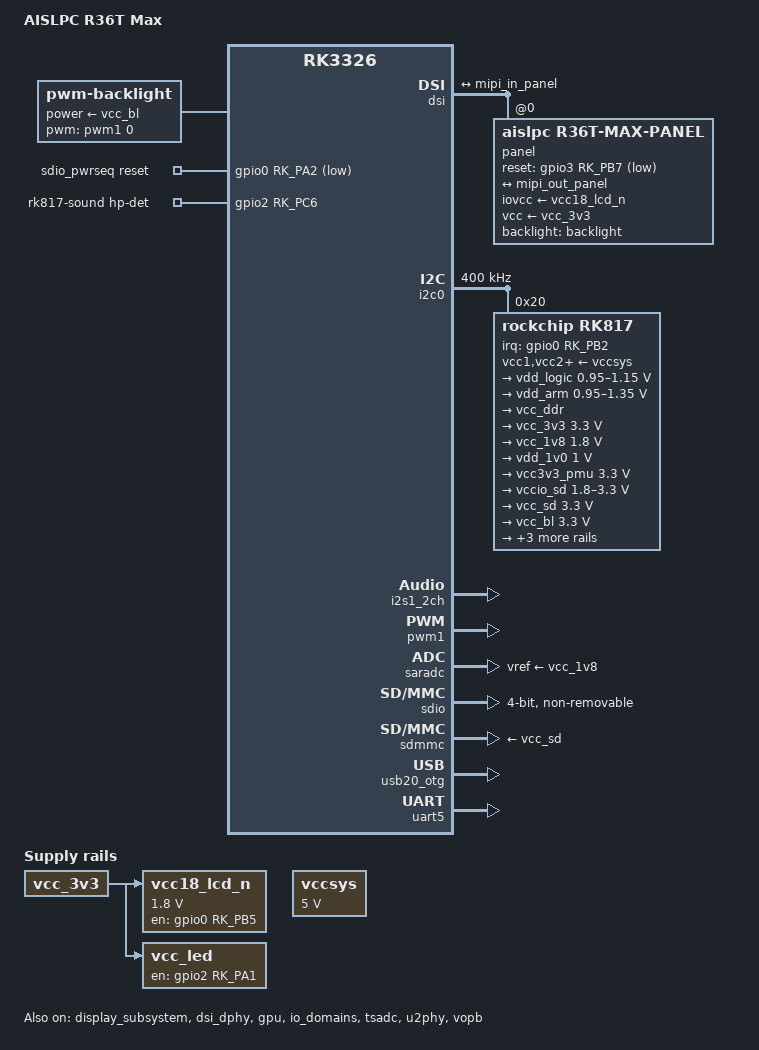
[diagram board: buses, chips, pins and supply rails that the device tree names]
// SPDX-License-Identifier: (GPL-2.0+ OR MIT)
/*
 * Device tree for the AISLPC R36T Max handheld.
 *
 * Copyright (c) 2026 Simon W. Jackson
 *
 * Written against mainline conventions so it can be submitted upstream, and
 * usable as-is if it never is. Values come from the running device: the
 * display controller for panel timings, resolved phandles from the vendor
 * device tree for GPIO assignments, and measured SDIO behaviour for the
 * Wi-Fi bus. Nothing is copied from the vendor tree's structure, which is a
 * generic Rockchip EVB with board nodes grafted onto it.
 *
 * Closest upstream relative is rk3326-anbernic-rg351m.dtsi: same SoC, same
 * RK817 PMIC, same audio routing, same SD card wiring. Where this board
 * agrees with it, it deliberately says the same thing.
 *
 * Unresolved, and deliberately absent rather than guessed:
 *
 *  - Buttons. The vendor driver takes 19 GPIOs as one ordered list with no
 *    labels and assigns key codes by position inside a non-mainline driver.
 *    The pins are known (gpio3 PB3..PD3, gpio2 PB5, PB6, gpio3 PB2) but
 *    which pin is which button is not derivable from the device tree and
 *    needs testing on hardware. gpio-keys is therefore not written yet.
 *  - Analog sticks. Four SARADC channels are known; the axis mapping and
 *    calibration ranges need the same hardware pass, then an adc-joystick
 *    node in the mainline binding rather than the vendor's play_joystick.
 */

/dts-v1/;
#include <dt-bindings/gpio/gpio.h>
#include <dt-bindings/input/input.h>
#include <dt-bindings/pinctrl/rockchip.h>
#include "rk3326.dtsi"

/ {
	model = "AISLPC R36T Max";
	compatible = "aislpc,r36t-max", "rockchip,rk3326";

	aliases {
		mmc0 = &sdmmc;
	};

	chosen {
		/*
		 * UART5, not the UART2 that most RK3326 boards use. The stock
		 * kernel is started with earlycon at 0xff178000, which is
		 * UART5 on this SoC. Boards in this clone family share the
		 * wiring; ROCKNIX retunes its DDR blob for the same reason.
		 */
		stdout-path = "serial5:1500000n8";
	};

	backlight: backlight {
		compatible = "pwm-backlight";
		pwms = <&pwm1 0 25000 0>;
		power-supply = <&vcc_bl>;
	};

	/*
	 * Supplies the panel's 1.8 V rail. Held on by the bootloader; the
	 * regulator core switches unclaimed rails off a few seconds after
	 * boot, which on a panel rail means the display goes dark once
	 * userspace is up.
	 */
	vcc18_lcd_n: regulator-vcc18-lcd-n {
		compatible = "regulator-fixed";
		enable-active-high;
		gpio = <&gpio0 RK_PB5 GPIO_ACTIVE_HIGH>;
		regulator-name = "vcc18_lcd_n";
		regulator-boot-on;
		regulator-min-microvolt = <1800000>;
		regulator-max-microvolt = <1800000>;
		vin-supply = <&vcc_3v3>;

		regulator-state-mem {
			regulator-off-in-suspend;
		};
	};

	/* Ring lights around both analog sticks. */
	vcc_led: regulator-vcc-led {
		compatible = "regulator-fixed";
		enable-active-high;
		gpio = <&gpio2 RK_PA1 GPIO_ACTIVE_HIGH>;
		pinctrl-names = "default";
		pinctrl-0 = <&led_vcc_en>;
		regulator-name = "vcc_led";
		vin-supply = <&vcc_3v3>;
	};

	vccsys: regulator-vccsys {
		compatible = "regulator-fixed";
		regulator-name = "vcc5v0_sys";
		regulator-always-on;
		regulator-boot-on;
		regulator-min-microvolt = <5000000>;
		regulator-max-microvolt = <5000000>;
	};

	sdio_pwrseq: sdio-pwrseq {
		compatible = "mmc-pwrseq-simple";
		clocks = <&cru SCLK_WIFI_PMU>;
		clock-names = "ext_clock";
		pinctrl-names = "default";
		pinctrl-0 = <&wifi_enable_h>;
		post-power-on-delay-ms = <100>;
		/*
		 * The vendor tree declares this active-high. On a mainline
		 * kernel that inverts what mmc-pwrseq-simple asserts, and the
		 * June bring-up measured the result directly: active-high
		 * stopped SDIO enumerating at all, reporting
		 * "mmc2: Failed to initialize a non-removable card".
		 * Active-low enumerates, downloads firmware, and associates.
		 */
		reset-gpios = <&gpio0 RK_PA2 GPIO_ACTIVE_LOW>;
	};

	rk817-sound {
		compatible = "simple-audio-card";
		simple-audio-card,name = "rk817_int";
		simple-audio-card,format = "i2s";
		simple-audio-card,hp-det-gpios = <&gpio2 RK_PC6 GPIO_ACTIVE_HIGH>;
		simple-audio-card,mclk-fs = <256>;
		simple-audio-card,widgets =
			"Microphone", "Mic Jack",
			"Headphone", "Headphones",
			"Speaker", "Speaker";
		simple-audio-card,routing =
			"MICL", "Mic Jack",
			"Headphones", "HPOL",
			"Headphones", "HPOR",
			"Speaker", "SPKO";

		simple-audio-card,codec {
			sound-dai = <&rk817>;
		};

		simple-audio-card,cpu {
			sound-dai = <&i2s1_2ch>;
		};
	};
};

&cpu0 {
	cpu-supply = <&vdd_arm>;
};

&cpu1 {
	cpu-supply = <&vdd_arm>;
};

&cpu2 {
	cpu-supply = <&vdd_arm>;
};

&cpu3 {
	cpu-supply = <&vdd_arm>;
};

&display_subsystem {
	status = "okay";
};

&dsi {
	#address-cells = <1>;
	#size-cells = <0>;
	status = "okay";

	ports {
		mipi_out: port@1 {
			reg = <1>;

			mipi_out_panel: endpoint {
				remote-endpoint = <&mipi_in_panel>;
			};
		};
	};

	/*
	 * 720x720 at 61 Hz on a 50 MHz pixel clock, four DSI lanes. Read
	 * from the display controller while the stock system was running:
	 *
	 *   Display mode: 720x720p61  clk[50000]
	 *   H: 720 860 940 1080       V: 720 740 744 764
	 *
	 * Note that /sys/class/graphics/fb0 reports 680x680 on the stock
	 * system. That is the plane, inset 20 px inside the display, not the
	 * panel.
	 *
	 * The mode itself lives in the panel driver, not here: mainline's
	 * ST7703 driver carries per-compatible timings and init sequences in
	 * C. This board needs its own compatible there, because its glass
	 * wants SETVCOM 0x97 0x97 and SETPOWER_EXT 0x26 0x22 where the
	 * RG353M's wants 0x7f 0x7f and 0x26 0x62 -- the two registers that
	 * decide whether an ST7703 reports ready and still draws nothing.
	 */
	panel: panel@0 {
		compatible = "aislpc,r36t-max-panel", "sitronix,st7703";
		reg = <0>;
		backlight = <&backlight>;
		reset-gpios = <&gpio3 RK_PB7 GPIO_ACTIVE_LOW>;
		iovcc-supply = <&vcc18_lcd_n>;
		vcc-supply = <&vcc_3v3>;

		port {
			mipi_in_panel: endpoint {
				remote-endpoint = <&mipi_out_panel>;
			};
		};
	};
};

&dsi_dphy {
	status = "okay";
};

&gpu {
	mali-supply = <&vdd_logic>;
	status = "okay";
};

&i2c0 {
	clock-frequency = <400000>;
	i2c-scl-falling-time-ns = <16>;
	i2c-scl-rising-time-ns = <280>;
	status = "okay";

	rk817: pmic@20 {
		compatible = "rockchip,rk817";
		reg = <0x20>;
		#clock-cells = <1>;
		clock-names = "mclk";
		clock-output-names = "rk808-clkout1", "xin32k";
		clocks = <&cru SCLK_I2S1_OUT>;
		interrupt-parent = <&gpio0>;
		interrupts = <RK_PB2 IRQ_TYPE_LEVEL_LOW>;
		pinctrl-0 = <&pmic_int>, <&i2s1_2ch_mclk>;
		pinctrl-names = "default";
		#sound-dai-cells = <0>;
		wakeup-source;

		vcc1-supply = <&vccsys>;
		vcc2-supply = <&vccsys>;
		vcc3-supply = <&vccsys>;
		vcc4-supply = <&vccsys>;
		vcc5-supply = <&vccsys>;
		vcc6-supply = <&vccsys>;
		vcc7-supply = <&vccsys>;
		vcc8-supply = <&vccsys>;

		regulators {
			vdd_logic: DCDC_REG1 {
				regulator-always-on;
				regulator-boot-on;
				regulator-min-microvolt = <950000>;
				regulator-max-microvolt = <1150000>;
				regulator-name = "vdd_logic";
				regulator-ramp-delay = <6001>;

				regulator-state-mem {
					regulator-on-in-suspend;
					regulator-suspend-microvolt = <950000>;
				};
			};

			vdd_arm: DCDC_REG2 {
				regulator-always-on;
				regulator-boot-on;
				regulator-min-microvolt = <950000>;
				regulator-max-microvolt = <1350000>;
				regulator-name = "vdd_arm";
				regulator-ramp-delay = <6001>;

				regulator-state-mem {
					regulator-off-in-suspend;
					regulator-suspend-microvolt = <950000>;
				};
			};

			vcc_ddr: DCDC_REG3 {
				regulator-always-on;
				regulator-boot-on;
				regulator-name = "vcc_ddr";

				regulator-state-mem {
					regulator-on-in-suspend;
				};
			};

			vcc_3v3: DCDC_REG4 {
				regulator-always-on;
				regulator-boot-on;
				regulator-min-microvolt = <3300000>;
				regulator-max-microvolt = <3300000>;
				regulator-name = "vcc_3v3";

				regulator-state-mem {
					regulator-off-in-suspend;
					regulator-suspend-microvolt = <3300000>;
				};
			};

			vcc_1v8: LDO_REG2 {
				regulator-always-on;
				regulator-boot-on;
				regulator-min-microvolt = <1800000>;
				regulator-max-microvolt = <1800000>;
				regulator-name = "vcc_1v8";

				regulator-state-mem {
					regulator-on-in-suspend;
					regulator-suspend-microvolt = <1800000>;
				};
			};

			vdd_1v0: LDO_REG3 {
				regulator-always-on;
				regulator-boot-on;
				regulator-min-microvolt = <1000000>;
				regulator-max-microvolt = <1000000>;
				regulator-name = "vdd_1v0";

				regulator-state-mem {
					regulator-on-in-suspend;
					regulator-suspend-microvolt = <1000000>;
				};
			};

			vcc3v3_pmu: LDO_REG4 {
				regulator-always-on;
				regulator-boot-on;
				regulator-min-microvolt = <3300000>;
				regulator-max-microvolt = <3300000>;
				regulator-name = "vcc3v3_pmu";

				regulator-state-mem {
					regulator-on-in-suspend;
					regulator-suspend-microvolt = <3300000>;
				};
			};

			vccio_sd: LDO_REG5 {
				regulator-always-on;
				regulator-boot-on;
				regulator-min-microvolt = <1800000>;
				regulator-max-microvolt = <3300000>;
				regulator-name = "vccio_sd";

				regulator-state-mem {
					regulator-on-in-suspend;
					regulator-suspend-microvolt = <3300000>;
				};
			};

			vcc_sd: LDO_REG6 {
				regulator-boot-on;
				regulator-min-microvolt = <3300000>;
				regulator-max-microvolt = <3300000>;
				regulator-name = "vcc_sd";

				regulator-state-mem {
					regulator-on-in-suspend;
					regulator-suspend-microvolt = <3300000>;
				};
			};

			vcc_bl: LDO_REG7 {
				regulator-min-microvolt = <3300000>;
				regulator-max-microvolt = <3300000>;
				regulator-name = "vcc_bl";

				regulator-state-mem {
					regulator-off-in-suspend;
					regulator-suspend-microvolt = <3300000>;
				};
			};

			vcc_lcd: LDO_REG8 {
				regulator-min-microvolt = <2800000>;
				regulator-max-microvolt = <2800000>;
				regulator-name = "vcc_lcd";

				regulator-state-mem {
					regulator-off-in-suspend;
					regulator-suspend-microvolt = <2800000>;
				};
			};

			vcc_wifi: LDO_REG9 {
				regulator-min-microvolt = <3300000>;
				regulator-max-microvolt = <3300000>;
				regulator-name = "vcc_wifi";

				regulator-state-mem {
					regulator-off-in-suspend;
					regulator-suspend-microvolt = <3300000>;
				};
			};

			usb_midu: BOOST {
				regulator-always-on;
				regulator-boot-on;
				regulator-min-microvolt = <5000000>;
				regulator-max-microvolt = <5400000>;
				regulator-name = "usb_midu";
			};
		};

		rk817_codec: codec {
			rockchip,mic-in-differential;
		};
	};
};

&i2s1_2ch {
	status = "okay";
};

&io_domains {
	vccio1-supply = <&vcc_3v3>;
	vccio2-supply = <&vccio_sd>;
	vccio3-supply = <&vcc_3v3>;
	vccio4-supply = <&vcc_3v3>;
	vccio5-supply = <&vcc_3v3>;
	vccio6-supply = <&vcc_3v3>;
	status = "okay";
};

&pmu_io_domains {
	pmuio1-supply = <&vcc3v3_pmu>;
	pmuio2-supply = <&vcc3v3_pmu>;
	status = "okay";
};

&pwm1 {
	status = "okay";
};

&saradc {
	vref-supply = <&vcc_1v8>;
	status = "okay";
};

/* SDIO, Wi-Fi only. */
&sdio {
	bus-width = <4>;
	cap-sd-highspeed;
	cap-sdio-irq;
	keep-power-in-suspend;
	/*
	 * 25 MHz, not the 50 the bus is capable of. Measured: at 50 MHz the
	 * card enumerates but RK915 firmware reset times out with -110.
	 * 25 MHz holds the bus stable long enough for firmware download,
	 * reset, scan, and association.
	 */
	max-frequency = <25000000>;
	mmc-pwrseq = <&sdio_pwrseq>;
	non-removable;
	no-mmc;
	no-sd;
	vqmmc-supply = <&vcc_1v8>;
	status = "okay";

	/*
	 * RK915 over SDIO. There is no mainline driver for this part, so the
	 * node exists to power and clock the bus correctly; the driver is
	 * carried out of tree along with rk915_fw.bin and rk915_patch.bin.
	 * Host wake is gpio0 RK_PA5.
	 */
};

&sdmmc {
	cap-sd-highspeed;
	card-detect-delay = <200>;
	sd-uhs-sdr12;
	sd-uhs-sdr25;
	sd-uhs-sdr50;
	sd-uhs-sdr104;
	vmmc-supply = <&vcc_sd>;
	vqmmc-supply = <&vccio_sd>;
	status = "okay";
};

&tsadc {
	status = "okay";
};

&u2phy {
	status = "okay";

	u2phy_host: host-port {
		status = "okay";
	};

	u2phy_otg: otg-port {
		status = "okay";
	};
};

&usb20_otg {
	status = "okay";
};

&uart5 {
	status = "okay";
};

&vopb {
	status = "okay";
};

&vopb_mmu {
	status = "okay";
};

&pinctrl {
	leds {
		led_vcc_en: led-vcc-en {
			rockchip,pins = <2 RK_PA1 RK_FUNC_GPIO &pcfg_pull_none>;
		};
	};

	pmic {
		pmic_int: pmic-int {
			rockchip,pins = <0 RK_PB2 RK_FUNC_GPIO &pcfg_pull_up>;
		};
	};

	wifi {
		wifi_enable_h: wifi-enable-h {
			rockchip,pins = <0 RK_PA2 RK_FUNC_GPIO &pcfg_pull_none>;
		};

		wifi_host_wake: wifi-host-wake {
			rockchip,pins = <0 RK_PA5 RK_FUNC_GPIO &pcfg_pull_down>;
		};
	};
};
